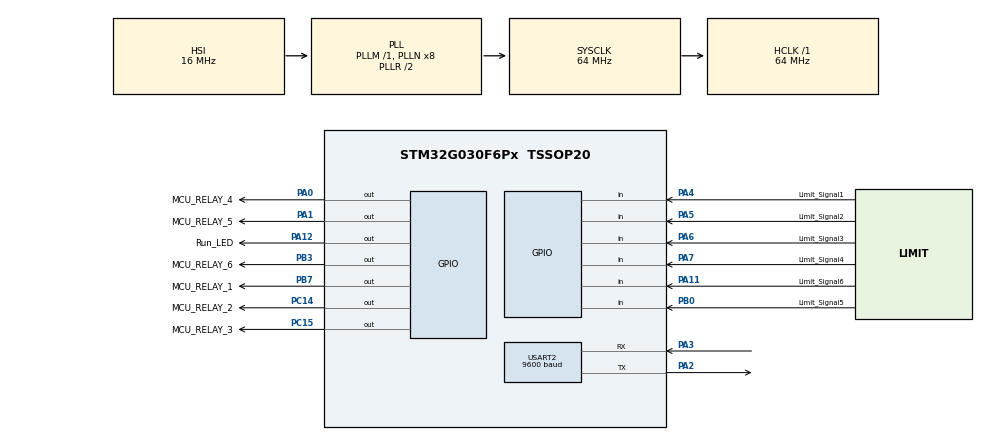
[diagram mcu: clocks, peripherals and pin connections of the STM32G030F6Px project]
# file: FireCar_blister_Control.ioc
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IWDG.Prescaler=IWDG_PRESCALER_4
Mcu.Family=STM32G0
Mcu.Name=STM32G030F6Px
Mcu.Package=TSSOP20
NVIC.USART2_IRQn=true\:0\:0\:false\:false\:true\:true\:true\:true
PA0.GPIO_Label=MCU_RELAY_4
PA0.Signal=GPIO_Output
PA1.GPIO_Label=MCU_RELAY_5
PA1.Signal=GPIO_Output
PA11\ [PA9].GPIO_Label=Limit_Signal6
PA11\ [PA9].GPIO_PuPd=GPIO_NOPULL
PA11\ [PA9].Signal=GPIO_Input
PA12\ [PA10].GPIO_Label=Run_LED
PA12\ [PA10].PinState=GPIO_PIN_SET
PA12\ [PA10].Signal=GPIO_Output
PA13.Mode=Serial_Wire
PA13.Signal=SYS_SWDIO
PA14-BOOT0.Mode=Serial_Wire
PA14-BOOT0.Signal=SYS_SWCLK
PA14-BOOT0__PA15.StandardMode=true
PA2.Mode=Asynchronous
PA2.Signal=USART2_TX
PA3.Mode=Asynchronous
PA3.Signal=USART2_RX
PA4.GPIO_Label=Limit_Signal1
PA4.GPIO_PuPd=GPIO_NOPULL
PA4.Signal=GPIO_Input
PA5.GPIO_Label=Limit_Signal2
PA5.GPIO_PuPd=GPIO_NOPULL
PA5.Signal=GPIO_Input
PA6.GPIO_Label=Limit_Signal3
PA6.GPIO_PuPd=GPIO_NOPULL
PA6.Signal=GPIO_Input
PA7.GPIO_Label=Limit_Signal4
PA7.GPIO_PuPd=GPIO_NOPULL
PA7.Signal=GPIO_Input
PB0.GPIO_Label=Limit_Signal5
PB0.GPIO_PuPd=GPIO_NOPULL
PB0.Signal=GPIO_Input
PB0__PB1__PB2__PA8.StandardMode=true
PB3.GPIO_Label=MCU_RELAY_6
PB3.Signal=GPIO_Output
PB3__PB4__PB5__PB6.StandardMode=true
PB7.GPIO_Label=MCU_RELAY_1
PB7.GPIO_Speed=GPIO_SPEED_FREQ_LOW
PB7.Signal=GPIO_Output
PB7__PB8.StandardMode=true
PC14-OSC32_IN\ (PC14).GPIO_Label=MCU_RELAY_2
PC14-OSC32_IN\ (PC14).Signal=GPIO_Output
PC14-OSC32_IN\ (PC14)__PB9.StandardMode=true
PC15-OSC32_OUT\ (PC15).GPIO_Label=MCU_RELAY_3
PC15-OSC32_OUT\ (PC15).Signal=GPIO_Output
ProjectManager.HeapSize=0x200
ProjectManager.StackSize=0x400
ProjectManager.TargetToolchain=MDK-ARM V5.32
RCC.ADCFreq_Value=64000000
RCC.AHBFreq_Value=64000000
RCC.CortexFreq_Value=64000000
RCC.EXTERNAL_CLOCK_VALUE=12288000
RCC.HCLKFreq_Value=64000000
RCC.HSE_VALUE=8000000
RCC.HSI_VALUE=16000000
RCC.LSE_VALUE=32768
RCC.SYSCLKFreq_VALUE=64000000
RCC.SYSCLKSource=RCC_SYSCLKSOURCE_PLLCLK
RCC.VCOOutputFreq_Value=128000000
USART2.BaudRate=9600
USART2.VirtualMode-Asynchronous=VM_ASYNC
VP_IWDG_VS_IWDG.Mode=IWDG_Activate
board=custom

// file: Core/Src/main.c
/* USER CODE BEGIN Header */
/**
  ******************************************************************************
  * @file           : main.c
  * @brief          : Main program body
  ******************************************************************************
  * @attention
  *
  * Copyright (c) 2026 STMicroelectronics.
  * All rights reserved.
  *
  * This software is licensed under terms that can be found in the LICENSE file
  * in the root directory of this software component.
  * If no LICENSE file comes with this software, it is provided AS-IS.
  *
  ******************************************************************************
  */
/* USER CODE END Header */
#include "main.h"
#include "iwdg.h"
#include "usart.h"
#include "gpio.h"

/* USER CODE BEGIN Includes */
#include "bsp_mylib.h"
#include "Usart2.h"
#include "Motor.h"
/* USER CODE END Includes */

void SystemClock_Config(void);

/* USER CODE BEGIN 0 */

void Variable_Iint(void)
{
  g_SysSta.auto_swing = 0;
	g_SysSta.auto_swing_dir = 0;
	g_SysSta.auto_swing_remote = 0;
	g_SysSta.pitch_motor = 0;
	g_SysSta.shower_motor = 0;
	g_SysSta.swing_motor = 0;

}

/* USER CODE END 0 */

int main(void)
{

  /* USER CODE BEGIN 1 */
   uint8_t send_buff[5] = {"123"};
  /* USER CODE END 1 */

  /* MCU Configuration--------------------------------------------------------*/

  /* Reset of all peripherals, Initializes the Flash interface and the Systick. */
  HAL_Init();

  /* Configure the system clock */
  SystemClock_Config();

  /* Initialize all configured peripherals */
  MX_GPIO_Init();
  MX_USART2_UART_Init();
  MX_IWDG_Init();
  /* USER CODE BEGIN 2 */
	Enable_IT_Uart_Fun();

	Variable_Iint();
  /* USER CODE END 2 */

  /* Infinite loop */
  while (1)
  {

    /* USER CODE BEGIN 3 */

		HAL_IWDG_Refresh(&hiwdg);  //喂狗
		Get_Seria_X_buff();   //串口数据接收处理函数
		Motr_Limit_Signal_Check(); //限位信号检测函数
		MotorControl(); //云台电机控制函数

//		PITCH_MOTOR_CCW;
//		SWING_MOTOR_CW;
//		SHOWER_MOTOR_CCW;
  }
  /* USER CODE END 3 */
}

void SystemClock_Config(void)
{
  RCC_OscInitTypeDef RCC_OscInitStruct = {0};
  RCC_ClkInitTypeDef RCC_ClkInitStruct = {0};

  /** Configure the main internal regulator output voltage
  */
  HAL_PWREx_ControlVoltageScaling(PWR_REGULATOR_VOLTAGE_SCALE1);

  /** Initializes the RCC Oscillators according to the specified parameters
  * in the RCC_OscInitTypeDef structure.
  */
  RCC_OscInitStruct.OscillatorType = RCC_OSCILLATORTYPE_HSI|RCC_OSCILLATORTYPE_LSI;
  RCC_OscInitStruct.HSIState = RCC_HSI_ON;
  RCC_OscInitStruct.HSIDiv = RCC_HSI_DIV1;
  RCC_OscInitStruct.HSICalibrationValue = RCC_HSICALIBRATION_DEFAULT;
  RCC_OscInitStruct.LSIState = RCC_LSI_ON;
  RCC_OscInitStruct.PLL.PLLState = RCC_PLL_ON;
  RCC_OscInitStruct.PLL.PLLSource = RCC_PLLSOURCE_HSI;
  RCC_OscInitStruct.PLL.PLLM = RCC_PLLM_DIV1;
  RCC_OscInitStruct.PLL.PLLN = 8;
  RCC_OscInitStruct.PLL.PLLP = RCC_PLLP_DIV2;
  RCC_OscInitStruct.PLL.PLLR = RCC_PLLR_DIV2;
  if (HAL_RCC_OscConfig(&RCC_OscInitStruct) != HAL_OK)
  {
    Error_Handler();
  }

  /** Initializes the CPU, AHB and APB buses clocks
  */
  RCC_ClkInitStruct.ClockType = RCC_CLOCKTYPE_HCLK|RCC_CLOCKTYPE_SYSCLK
                              |RCC_CLOCKTYPE_PCLK1;
  RCC_ClkInitStruct.SYSCLKSource = RCC_SYSCLKSOURCE_PLLCLK;
  RCC_ClkInitStruct.AHBCLKDivider = RCC_SYSCLK_DIV1;
  RCC_ClkInitStruct.APB1CLKDivider = RCC_HCLK_DIV1;

  if (HAL_RCC_ClockConfig(&RCC_ClkInitStruct, FLASH_LATENCY_2) != HAL_OK)
  {
    Error_Handler();
  }
}

void Error_Handler(void)
{
  __disable_irq();
  while (1)
  {
  }
}
